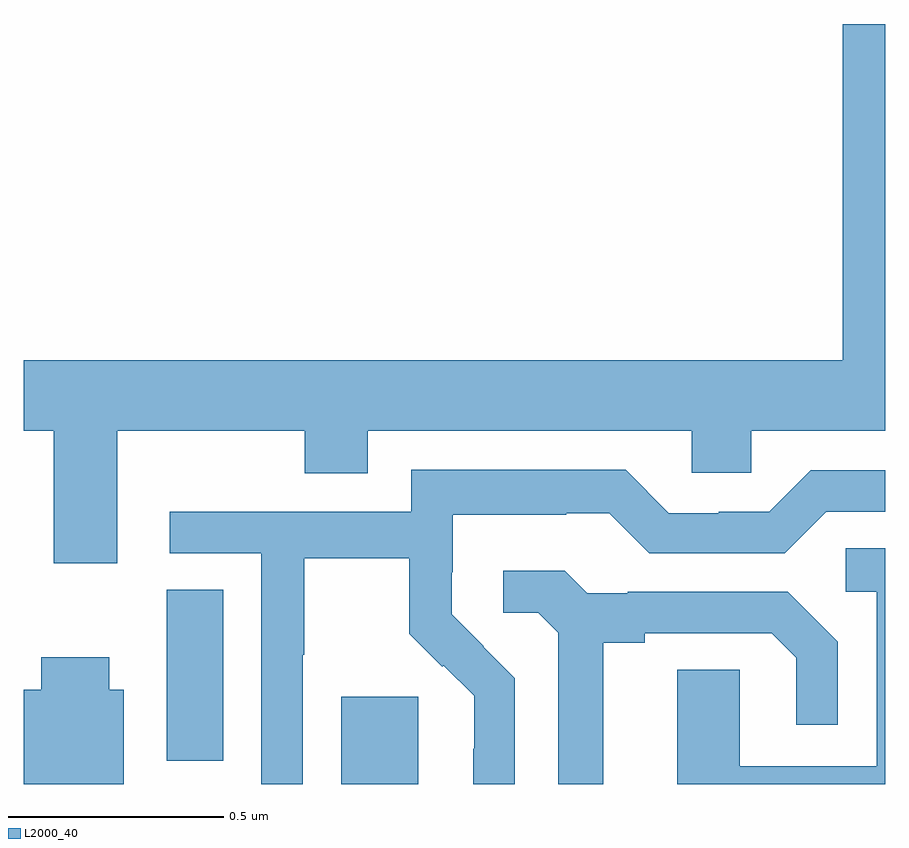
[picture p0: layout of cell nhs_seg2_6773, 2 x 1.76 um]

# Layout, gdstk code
import gdstk
lib = gdstk.Library(unit=1e-6, precision=1e-09)
def R(c, l, rs):  # rectangles x0, y0, x1, y1
    for r in rs: c.add(gdstk.rectangle(r[:2], r[2:], *l))
def P(c, l, *ps):  # polygons
    for p in ps: c.add(gdstk.Polygon(p, *l))
L2000_40 = (2000, 40)

nhs_seg2_6773 = lib.new_cell('nhs_seg2_6773')
R(nhs_seg2_6773, L2000_40, [(195.737,662.8,195.916,663.003), (195.332,662.854,195.463,663.251)])
P(nhs_seg2_6773, L2000_40, [(195.217,663.62),(195.652,663.62),(195.652,663.521),(195.799,663.521),(195.799,663.62),(196.551,663.62),(196.551,663.522),(196.689,663.522),(196.689,663.62),(197,663.62),(197,664.564),(196.901,664.564),(196.901,663.784),(195,663.784),(195,663.62),(195.07,663.62),(195.07,663.312),(195.217,663.312)],
  [(195.648,663.1),(195.651,663.1),(195.651,663.324),(195.895,663.324),(195.895,663.149),(195.972,663.072),(195.975,663.075),(196.046,663.005),(196.046,662.882),(196.044,662.882),(196.044,662.8),(196.14,662.8),(196.14,663.046),(196.067,663.119),(196.068,663.12),(195.994,663.194),(195.994,663.291),(195.996,663.291),(195.996,663.425),(196.259,663.425),(196.259,663.429),(196.359,663.429),(196.452,663.336),(196.767,663.336),(196.863,663.432),(197,663.432),(197,663.528),(196.827,663.528),(196.731,663.432),(196.613,663.432),(196.613,663.429),(196.497,663.429),(196.397,663.529),(195.9,663.529),(195.9,663.432),(195.339,663.432),(195.339,663.336),(195.552,663.336),(195.552,662.8),(195.648,662.8)],
  [(197,663.347),(196.908,663.347),(196.908,663.246),(196.98,663.246),(196.98,662.841),(196.662,662.841),(196.662,663.065),(196.517,663.065),(196.517,662.8),(197,662.8)],
  [(196.345,663.128),(196.441,663.128),(196.441,663.15),(196.736,663.15),(196.793,663.093),(196.793,662.937),(196.89,662.937),(196.89,663.13),(196.774,663.246),(196.402,663.246),(196.402,663.243),(196.308,663.243),(196.256,663.295),(196.113,663.295),(196.113,663.198),(196.194,663.198),(196.241,663.151),(196.241,662.8),(196.345,662.8)],
  [(195.232,663.019),(195.199,663.019),(195.199,663.094),(195.041,663.094),(195.041,663.019),(195,663.019),(195,662.8),(195.232,662.8)])

lib.write_gds('nhs_seg2_6773.gds')
